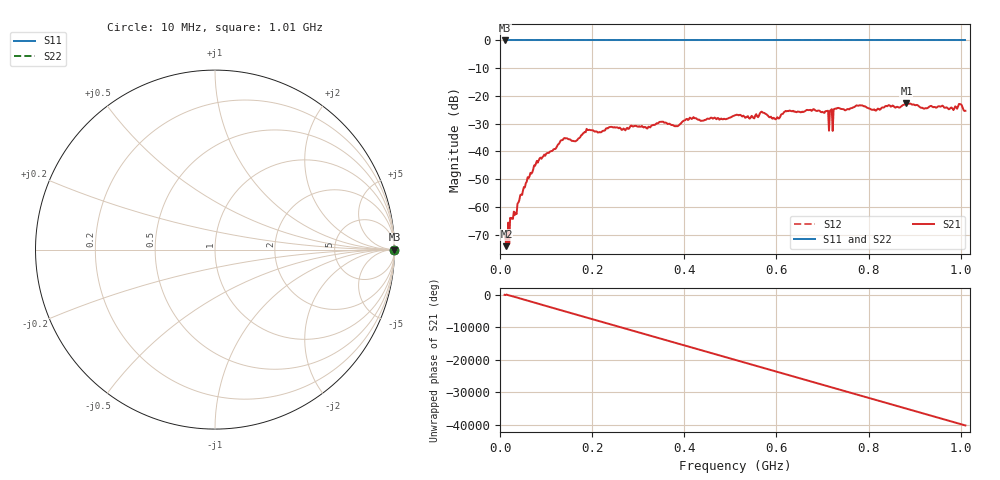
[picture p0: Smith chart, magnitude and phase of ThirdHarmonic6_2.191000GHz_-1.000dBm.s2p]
! 8/17/2025 2:07:33 AM
! C:\ANRITSUVNA\TEMP\TEMP.S2P
! CHANNEL.1
! TR.MEASUREMENT
! RAW.DATA
! RF.CORRECTION.OFF
! AVERAGING.OFF
! IF.BANDWIDTH: 5KHZ
! SWEEPTYPE:  FREQ.SWEEP(Linear)
! Reference Plane Port Info
! PORT:  PORT1  PORT2
! DISTANCE:  0  m  0  m
! TIME:  0  s  0  s
! PHASE.OFFSET:  0  deg.  0  deg.
! LOSS:  0  dB  0  dB
! REF.LOSS:  0  dB  0  dB
! REF.FREQ:  0  Hz  0  Hz
! Power Info
! POWER:  -20  dBm  -20  dBm
! EFF.POWER:  -20  dBm  -20  dBm
! SOURCE.ATTEN:  0  dB  0  dB
! TEST.ATTEN:  0  dB  0  dB
# GHZ S RI R 50.0
! FREQ.GHZ  S11RE  S11IM  S21RE  S21IM  S12RE  S12IM  S22RE  S22IM
!; PortSelection: Port_12
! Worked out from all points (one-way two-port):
!   501 points, 10 MHz to 1.01 GHz, reference 50 ohm
!   highest |S21| = -22.53 dB at 882 MHz (marker M1); lowest = -74.1 dB at 14 MHz (marker M2)
!   lowest |S11| = 0.0 dB at 10 MHz (marker M3)
!   |S11| at or under -10 dB: nowhere
!   |S22| runs from 0.0 to 0.0 dB; largest |S21 - S12| = 1.1
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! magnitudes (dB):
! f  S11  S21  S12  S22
! 10 MHz  0.0  -70.2  0.0  0.0
! 14 MHz  0.0  -74.1  0.0  0.0
! 56 MHz  0.0  -51.5  0.0  0.0
! 82 MHz  0.0  -44.0  0.0  0.0
! 136 MHz  0.0  -35.9  0.0  0.0
! 164 MHz  0.0  -36.3  0.0  0.0
! 178 MHz  0.0  -34.0  0.0  0.0
! 344 MHz  0.0  -29.7  0.0  0.0
! 382 MHz  0.0  -30.8  0.0  0.0
! 416 MHz  0.0  -28.3  0.0  0.0
! 510 MHz  0.0  -26.9  0.0  0.0
! 570 MHz  0.0  -26.0  0.0  0.0
! 596 MHz  0.0  -28.1  0.0  0.0
! 624 MHz  0.0  -25.4  0.0  0.0
! 678 MHz  0.0  -25.1  0.0  0.0
! 708 MHz  0.0  -25.4  0.0  0.0
! 718 MHz  0.0  -25.1  0.0  0.0
! 730 MHz  0.0  -24.6  0.0  0.0
! 844 MHz  0.0  -23.3  0.0  0.0
! 882 MHz  0.0  -22.5  0.0  0.0
! 998 MHz  0.0  -22.9  0.0  0.0
! 1.01 GHz  0.0  -25.4  0.0  0.0
